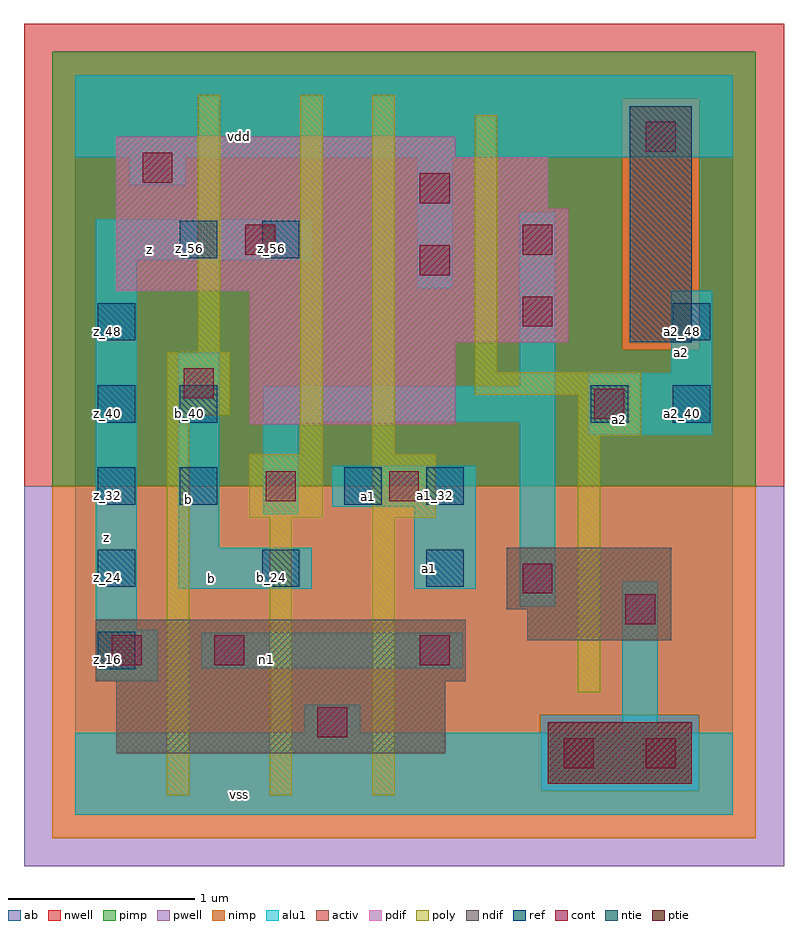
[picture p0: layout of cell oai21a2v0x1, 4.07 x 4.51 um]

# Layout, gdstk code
import gdstk
lib = gdstk.Library(unit=1e-6, precision=2.5e-09)
def R(c, l, rs):  # rectangles x0, y0, x1, y1
    for r in rs: c.add(gdstk.rectangle(r[:2], r[2:], *l))
def A(c, l, x, y, w, h, nx, ny, dx, dy):  # array of equal rectangles
    R(c, l, [(x+i*dx, y+j*dy, x+i*dx+w, y+j*dy+h) for i in range(nx) for j in range(ny)])
ndif = (3, 0)
pdif = (4, 0)
ntie = (5, 0)
ptie = (6, 0)
ref = (24, 0)
cont = (25, 0)
pwell = (41, 0)
nwell = (42, 0)
activ = (43, 0)
pimp = (44, 0)
nimp = (45, 0)
poly = (46, 0)
alu1 = (49, 0)
ab = (63, 0)

oai21a2v0x1 = lib.new_cell('oai21a2v0x1')
R(oai21a2v0x1, ndif, [(0.22,0.33,1.98,0.715), (0.11,0.715,2.09,1.045), (2.42,0.935,3.19,1.1), (2.31,1.1,3.19,1.43)])
R(oai21a2v0x1, pdif, [(0.935,2.09,2.035,2.53), (0.935,2.53,2.64,2.805), (0.22,2.805,2.64,3.245), (0.22,3.245,2.53,3.52), (0.22,3.52,2.035,3.63)])
R(oai21a2v0x1, ntie, [(2.97,2.53,3.3,3.795)])
R(oai21a2v0x1, ptie, [(2.53,0.165,3.3,0.495)])
A(oai21a2v0x1, ref, 0.12, 1.22, 0.2, 0.2, 3, 1, 0.88, 0)
A(oai21a2v0x1, ref, 0.12, 1.66, 0.2, 0.2, 1, 3, 0, 0.44)
R(oai21a2v0x1, ref, [(0.12,0.78,0.32,0.98), (0.56,1.66,0.76,1.86), (1.44,1.66,1.64,1.86), (1.88,1.66,2.08,1.86), (0.56,2.1,0.76,2.3), (2.76,2.1,2.96,2.3), (3.2,2.1,3.4,2.3), (3.2,2.54,3.4,2.74), (0.56,2.98,0.76,3.18), (1,2.98,1.2,3.18)])
R(oai21a2v0x1, cont, [(2.615,0.25,2.775,0.41), (3.055,0.25,3.215,0.41), (1.295,0.415,1.455,0.575), (0.195,0.8,0.355,0.96), (0.745,0.8,0.905,0.96), (1.845,0.8,2.005,0.96), (2.945,1.02,3.105,1.18), (2.395,1.185,2.555,1.345), (1.02,1.68,1.18,1.84), (1.68,1.68,1.84,1.84), (2.78,2.12,2.94,2.28), (0.58,2.23,0.74,2.39), (2.395,2.615,2.555,2.775), (1.845,2.89,2.005,3.05), (0.91,3,1.07,3.16), (2.395,3,2.555,3.16), (1.845,3.275,2.005,3.435), (0.36,3.385,0.52,3.545), (3.055,3.55,3.215,3.71)])
R(oai21a2v0x1, pwell, [(-0.275,-0.275,3.795,1.76)])
R(oai21a2v0x1, nwell, [(-0.275,1.76,3.795,4.235)])
R(oai21a2v0x1, activ, [(2.53,0.165,3.3,0.495), (0.22,0.33,1.98,0.715), (0.11,0.715,2.09,1.045), (2.42,0.935,3.19,1.1), (2.31,1.1,3.19,1.43), (0.935,2.09,2.035,2.53), (0.935,2.53,2.64,2.805), (2.97,2.53,3.3,3.795), (0.22,2.805,2.64,3.245), (0.22,3.245,2.53,3.52), (0.22,3.52,2.035,3.63)])
R(oai21a2v0x1, pimp, [(2.49,0.125,3.34,0.535), (-0.125,1.76,3.645,2.49), (-0.125,2.49,2.93,3.835), (3.34,2.49,3.645,3.835), (-0.125,3.835,3.645,4.085)])
R(oai21a2v0x1, nimp, [(-0.125,-0.125,3.645,0.125), (-0.125,0.125,2.49,0.535), (3.34,0.125,3.645,0.535), (-0.125,0.535,3.645,1.76), (2.93,2.49,3.34,3.835)])
R(oai21a2v0x1, poly, [(0.49,0.105,0.61,2.14), (1.04,0.105,1.16,1.59), (1.59,0.105,1.71,1.59), (2.69,0.655,2.81,2.03), (0.93,1.59,1.325,1.93), (1.59,1.59,1.93,1.93), (1.205,1.93,1.325,3.855), (1.59,1.93,1.71,3.855), (2.69,2.03,3.03,2.25), (0.49,2.14,0.83,2.48), (2.14,2.25,3.03,2.37), (2.14,2.37,2.26,3.745), (0.655,2.48,0.775,3.855)])
R(oai21a2v0x1, alu1, [(0,0,3.52,0.44), (1.225,0.44,1.525,0.59), (2.93,0.44,3.12,1.25), (0.11,0.715,0.44,0.99), (0.675,0.785,2.075,0.975), (0.11,0.99,0.33,2.97), (2.38,1.115,2.57,2.105), (0.55,1.21,1.265,1.43), (1.815,1.21,2.145,1.65), (0.55,1.43,0.77,2.475), (1.005,1.61,1.195,2.105), (1.375,1.65,2.145,1.87), (2.75,2.035,3.41,2.365), (1.005,2.105,2.57,2.295), (2.38,2.295,2.57,3.23), (3.19,2.365,3.41,2.805), (1.83,2.82,2.02,3.52), (0.11,2.97,1.265,3.19), (0.29,3.37,0.59,3.52), (0,3.52,3.52,3.96)])
R(oai21a2v0x1, ab, [(0,0,3.52,3.96)])
oai21a2v0x1.add(gdstk.Label('vss', (0.88,0.11), layer=49, texttype=0))
oai21a2v0x1.add(gdstk.Label('n1', (1.025,0.8325), layer=49, texttype=0))
oai21a2v0x1.add(gdstk.Label('a2', (2.915,2.1175), layer=49, texttype=0))
oai21a2v0x1.add(gdstk.Label('a1', (1.8975,1.32), layer=49, texttype=0))
oai21a2v0x1.add(gdstk.Label('b', (0.7275,1.265), layer=49, texttype=0))
oai21a2v0x1.add(gdstk.Label('a1', (1.5675,1.705), layer=49, texttype=0))
oai21a2v0x1.add(gdstk.Label('a2', (3.245,2.475), layer=49, texttype=0))
oai21a2v0x1.add(gdstk.Label('b', (0.605,1.69), layer=49, texttype=0))
oai21a2v0x1.add(gdstk.Label('z', (0.165,1.485), layer=49, texttype=0))
oai21a2v0x1.add(gdstk.Label('z', (0.3975,3.025), layer=49, texttype=0))
oai21a2v0x1.add(gdstk.Label('vdd', (0.88,3.63), layer=49, texttype=0))
oai21a2v0x1.add(gdstk.Label('a1_24', (1.93,1.27), layer=24, texttype=0))
oai21a2v0x1.add(gdstk.Label('a2_48', (3.25,2.59), layer=24, texttype=0))
oai21a2v0x1.add(gdstk.Label('a2_40', (3.25,2.15), layer=24, texttype=0))
oai21a2v0x1.add(gdstk.Label('a1_32', (1.93,1.71), layer=24, texttype=0))
oai21a2v0x1.add(gdstk.Label('a2_40', (2.81,2.15), layer=24, texttype=0))
oai21a2v0x1.add(gdstk.Label('b_32', (0.61,1.71), layer=24, texttype=0))
oai21a2v0x1.add(gdstk.Label('b_40', (0.61,2.15), layer=24, texttype=0))
oai21a2v0x1.add(gdstk.Label('z_56', (0.61,3.03), layer=24, texttype=0))
oai21a2v0x1.add(gdstk.Label('b_24', (1.05,1.27), layer=24, texttype=0))
oai21a2v0x1.add(gdstk.Label('z_56', (1.05,3.03), layer=24, texttype=0))
oai21a2v0x1.add(gdstk.Label('a1_32', (1.49,1.71), layer=24, texttype=0))
oai21a2v0x1.add(gdstk.Label('z_16', (0.17,0.83), layer=24, texttype=0))
oai21a2v0x1.add(gdstk.Label('z_24', (0.17,1.27), layer=24, texttype=0))
oai21a2v0x1.add(gdstk.Label('z_32', (0.17,1.71), layer=24, texttype=0))
oai21a2v0x1.add(gdstk.Label('z_40', (0.17,2.15), layer=24, texttype=0))
oai21a2v0x1.add(gdstk.Label('z_48', (0.17,2.59), layer=24, texttype=0))

lib.write_gds('oai21a2v0x1.gds')
